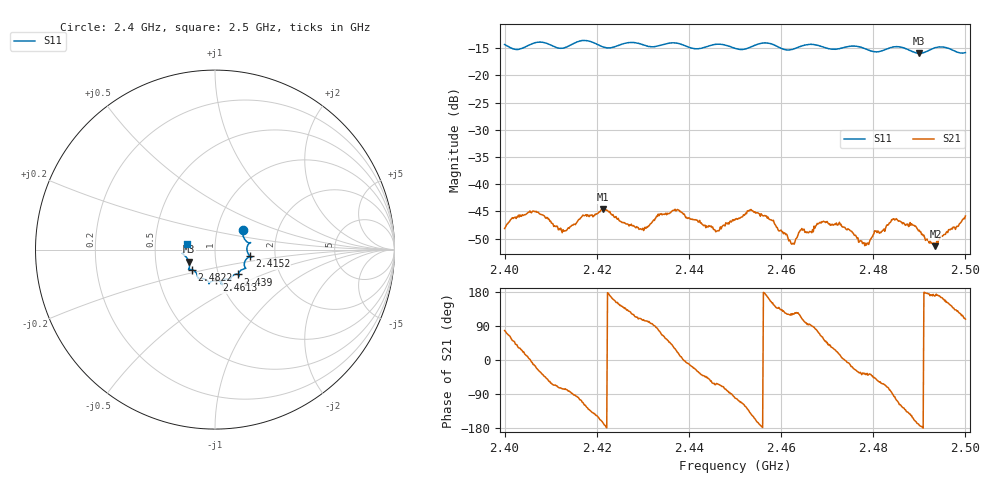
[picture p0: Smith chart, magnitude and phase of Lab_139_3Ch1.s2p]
# Hz S RI R 50
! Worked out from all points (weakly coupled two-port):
!   601 points, 2.4 GHz to 2.5 GHz, reference 50 ohm
!   highest |S21| = -44.61 dB at 2.4213 GHz (marker M1); lowest = -51.4 dB at 2.4935 GHz (marker M2)
!   lowest |S11| = -15.9 dB at 2.4898 GHz (marker M3), VSWR 1.38, Z = 37 - j5.04 ohm
!   |S11| at or under -10 dB: start of sweep to end of sweep
!   S12 and S22 are empty: the file has one direction only
!   S11 on the Smith chart (normalised r, x): 2.4 GHz: 1.33, +0.31; 2.4152 GHz: 1.48, -0.11; 2.439 GHz: 1.24, -0.36; 2.4613 GHz: 0.96, -0.34; 2.4822 GHz: 0.76, -0.17; 2.5 GHz: 0.72, +0.05
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2.4e9  0.1564 0.112  0.00084 0.00382  0 0  0 0
2.4065e9  0.1957 0.0372  0.00544 -0.00143  0 0  0 0
2.412833e9  0.1788 -0.0073  0.000872 -0.00359  0 0  0 0
2.415167e9  0.195 -0.0363  -0.000157 -0.00429  0 0  0 0
2.416667e9  0.2045 -0.0423  -0.00146 -0.00476  0 0  0 0
2.421333e9  0.1753 -0.0518  -0.00569 -0.00148  0 0  0 0
2.429667e9  0.1619 -0.107  -0.00119 0.00365  0 0  0 0
2.433333e9  0.1325 -0.132  0.000942 0.00523  0 0  0 0
2.439e9  0.1286 -0.1384  0.0053 -0.000195  0 0  0 0
2.446e9  0.0856 -0.1737  0.00174 -0.00326  0 0  0 0
2.45e9  0.069 -0.1637  -0.000853 -0.00462  0 0  0 0
2.453833e9  0.0356 -0.1822  -0.00482 -0.00305  0 0  0 0
2.461333e9  0.00751 -0.1713  -0.00173 0.00291  0 0  0 0
2.4625e9  -0.0098 -0.1737  -0.00153 0.00241  0 0  0 0
2.466667e9  -0.0337 -0.1903  2.24e-05 0.00358  0 0  0 0
2.4725e9  -0.0717 -0.1604  0.00415 0.00125  0 0  0 0
2.4785e9  -0.0987 -0.1436  0.00216 -0.00171  0 0  0 0
2.482167e9  -0.1281 -0.1118  0.00173 -0.00337  0 0  0 0
2.483333e9  -0.1394 -0.1102  0.00117 -0.00411  0 0  0 0
2.489833e9  -0.1453 -0.0663  -0.00365 -0.00071  0 0  0 0
2.4935e9  -0.1783 -0.0255  -0.00265 0.000474  0 0  0 0
2.5e9  -0.1587 0.033  -0.00157 0.00485  0 0  0 0
